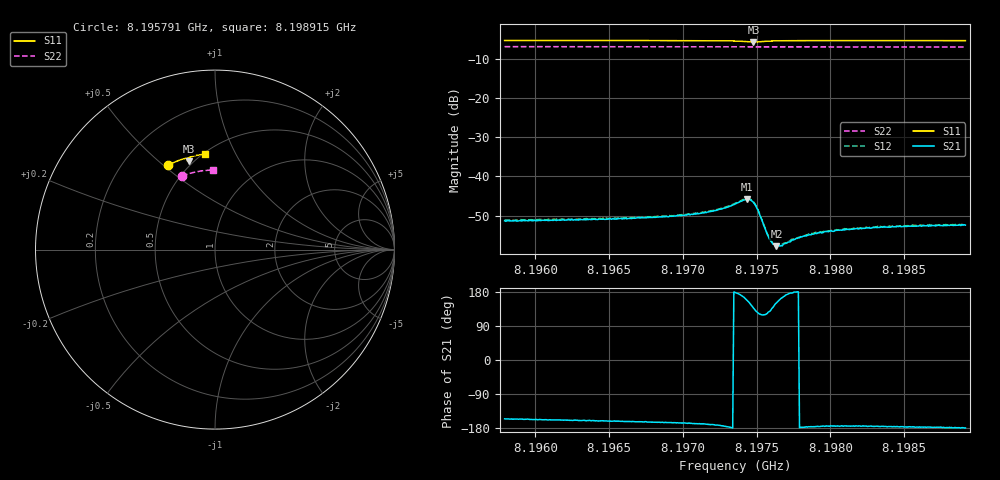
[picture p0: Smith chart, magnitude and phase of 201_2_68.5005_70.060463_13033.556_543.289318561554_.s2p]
#  HZ  S  RI  R  50.00
! Rohde & Schwarz Vector Network Analyzer
! Rohde-Schwarz,ZNB20-2Port,1311601062101988,3.16
! Created: UTC 3/20/2024, 5:12:45 PM
! freq[Hz]  re:S11  im:S11  re:S21  im:S21  re:S12  im:S12  re:S22  im:S22
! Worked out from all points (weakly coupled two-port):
!   401 points, 8.195791 GHz to 8.198915 GHz, reference 50 ohm
!   highest |S21| = -45.89 dB at 8.197431 GHz (marker M1); lowest = -57.8 dB at 8.197634 GHz (marker M2)
!   lowest |S11| = -5.8 dB at 8.197478 GHz (marker M3), VSWR 3.10, Z = 23.7 + j31.6 ohm
!   |S11| at or under -10 dB: nowhere
!   |S22| runs from -7.1 to -7.0 dB; largest |S21 - S12| = 0.00024
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8.1957907e9  -0.2608 0.4696  -0.00247 -0.00114  -0.00257 -0.00104  -0.1831 0.4091
8.196314e9  -0.2272 0.4861  -0.00264 -0.000969  -0.0027 -0.000884  -0.1558 0.4196
8.1968373e9  -0.1918 0.5004  -0.00292 -0.000835  -0.003 -0.000682  -0.1274 0.4282
8.1970169e9  -0.1789 0.5045  -0.00313 -0.000744  -0.00321 -0.000604  -0.1176 0.4307
8.1971419e9  -0.169 0.5072  -0.00334 -0.000684  -0.00344 -0.000559  -0.1108 0.4321
8.1972746e9  -0.157 0.5089  -0.0039 -0.000408  -0.00401 -0.000243  -0.1033 0.4337
8.1973527e9  -0.1482 0.5075  -0.00442 0.000126  -0.00452 0.000296  -0.0989 0.4344
8.1974308e9  -0.1409 0.499  -0.00475 0.0018  -0.00475 0.00204  -0.0945 0.435
8.1974543e9  -0.1417 0.4944  -0.00432 0.00259  -0.00433 0.0028  -0.0934 0.4352
8.1974777e9  -0.1454 0.4913  -0.00342 0.00314  -0.0034 0.00332  -0.0923 0.4353
8.1974933e9  -0.1487 0.4911  -0.00271 0.00324  -0.00265 0.00339  -0.0914 0.4355
8.197509e9  -0.1517 0.4925  -0.00207 0.00305  -0.00196 0.00315  -0.0908 0.4358
8.1975636e9  -0.1549 0.5015  -0.00103 0.00171  -0.000953 0.00177  -0.0878 0.4365
8.1975871e9  -0.1534 0.5047  -0.000972 0.00124  -0.000958 0.00133  -0.0865 0.4366
8.1976105e9  -0.1517 0.5073  -0.00103 0.000894  -0.00103 0.000957  -0.0852 0.437
8.1976339e9  -0.1496 0.5095  -0.00112 0.00063  -0.00111 0.000698  -0.0839 0.4373
8.197673e9  -0.146 0.512  -0.00125 0.00035  -0.0013 0.000426  -0.0815 0.4376
8.1977823e9  -0.1366 0.5164  -0.00165 7.14e-07  -0.00167 5.38e-05  -0.0755 0.4386
8.197876e9  -0.1291 0.5189  -0.00183 -0.000122  -0.00187 -9.33e-05  -0.0703 0.4393
8.1980479e9  -0.116 0.5222  -0.00204 -0.000211  -0.00208 -0.000124  -0.0606 0.4404
8.1983993e9  -0.0906 0.527  -0.00223 -0.00017  -0.00233 -6.43e-05  -0.0407 0.4421
8.1989148e9  -0.0537 0.5317  -0.00239 -2.51e-05  -0.00244 8.23e-05  -0.0116 0.4429
